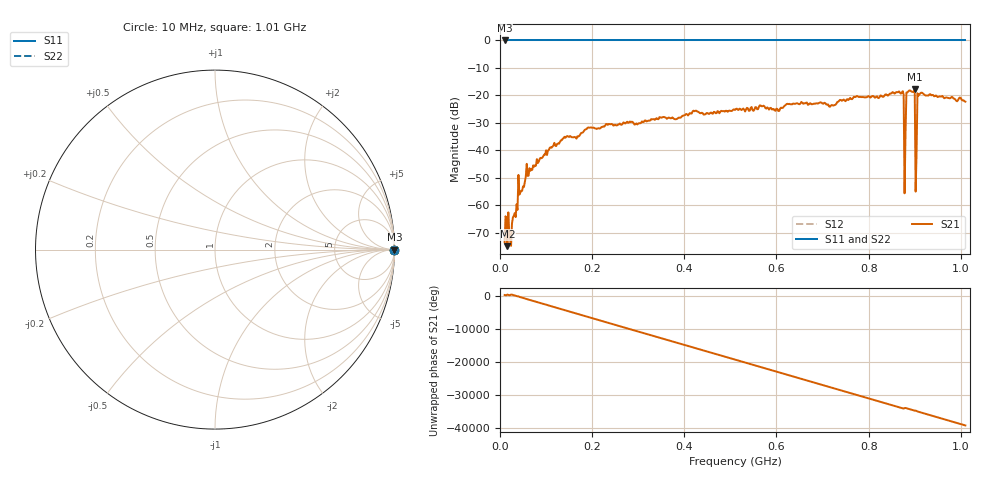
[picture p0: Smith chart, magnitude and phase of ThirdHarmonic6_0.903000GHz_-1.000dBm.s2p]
! 8/16/2025 5:36:36 AM
! C:\ANRITSUVNA\TEMP\TEMP.S2P
! CHANNEL.1
! TR.MEASUREMENT
! RAW.DATA
! RF.CORRECTION.OFF
! AVERAGING.OFF
! IF.BANDWIDTH: 5KHZ
! SWEEPTYPE:  FREQ.SWEEP(Linear)
! Reference Plane Port Info
! PORT:  PORT1  PORT2
! DISTANCE:  0  m  0  m
! TIME:  0  s  0  s
! PHASE.OFFSET:  0  deg.  0  deg.
! LOSS:  0  dB  0  dB
! REF.LOSS:  0  dB  0  dB
! REF.FREQ:  0  Hz  0  Hz
! Power Info
! POWER:  -20  dBm  -20  dBm
! EFF.POWER:  -20  dBm  -20  dBm
! SOURCE.ATTEN:  0  dB  0  dB
! TEST.ATTEN:  0  dB  0  dB
# GHZ S RI R 50.0
! FREQ.GHZ  S11RE  S11IM  S21RE  S21IM  S12RE  S12IM  S22RE  S22IM
!; PortSelection: Port_12
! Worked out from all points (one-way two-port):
!   501 points, 10 MHz to 1.01 GHz, reference 50 ohm
!   highest |S21| = -17.80 dB at 900 MHz (marker M1); lowest = -75.0 dB at 16 MHz (marker M2)
!   lowest |S11| = 0.0 dB at 10 MHz (marker M3)
!   |S11| at or under -10 dB: nowhere
!   |S22| runs from 0.0 to 0.0 dB; largest |S21 - S12| = 1.1
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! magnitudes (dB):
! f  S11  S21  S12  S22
! 10 MHz  0.0  -73.6  0.0  0.0
! 16 MHz  0.0  -75.0  0.0  0.0
! 20 MHz  0.0  -69.8  0.0  0.0
! 24 MHz  0.0  -74.9  0.0  0.0
! 44 MHz  0.0  -55.4  0.0  0.0
! 62 MHz  0.0  -49.3  0.0  0.0
! 114 MHz  0.0  -38.7  0.0  0.0
! 178 MHz  0.0  -33.6  0.0  0.0
! 344 MHz  0.0  -28.7  0.0  0.0
! 510 MHz  0.0  -25.3  0.0  0.0
! 678 MHz  0.0  -23.2  0.0  0.0
! 844 MHz  0.0  -19.7  0.0  0.0
! 872 MHz  0.0  -19.0  0.0  0.0
! 876 MHz  0.0  -19.7  0.0  0.0
! 880 MHz  0.0  -34.6  0.0  0.0
! 882 MHz  0.0  -19.0  0.0  0.0
! 886 MHz  0.0  -18.6  0.0  0.0
! 896 MHz  0.0  -18.7  0.0  0.0
! 900 MHz  0.0  -17.8  0.0  0.0
! 906 MHz  0.0  -19.3  0.0  0.0
! 910 MHz  0.0  -19.7  0.0  0.0
! 1.01 GHz  0.0  -22.3  0.0  0.0
